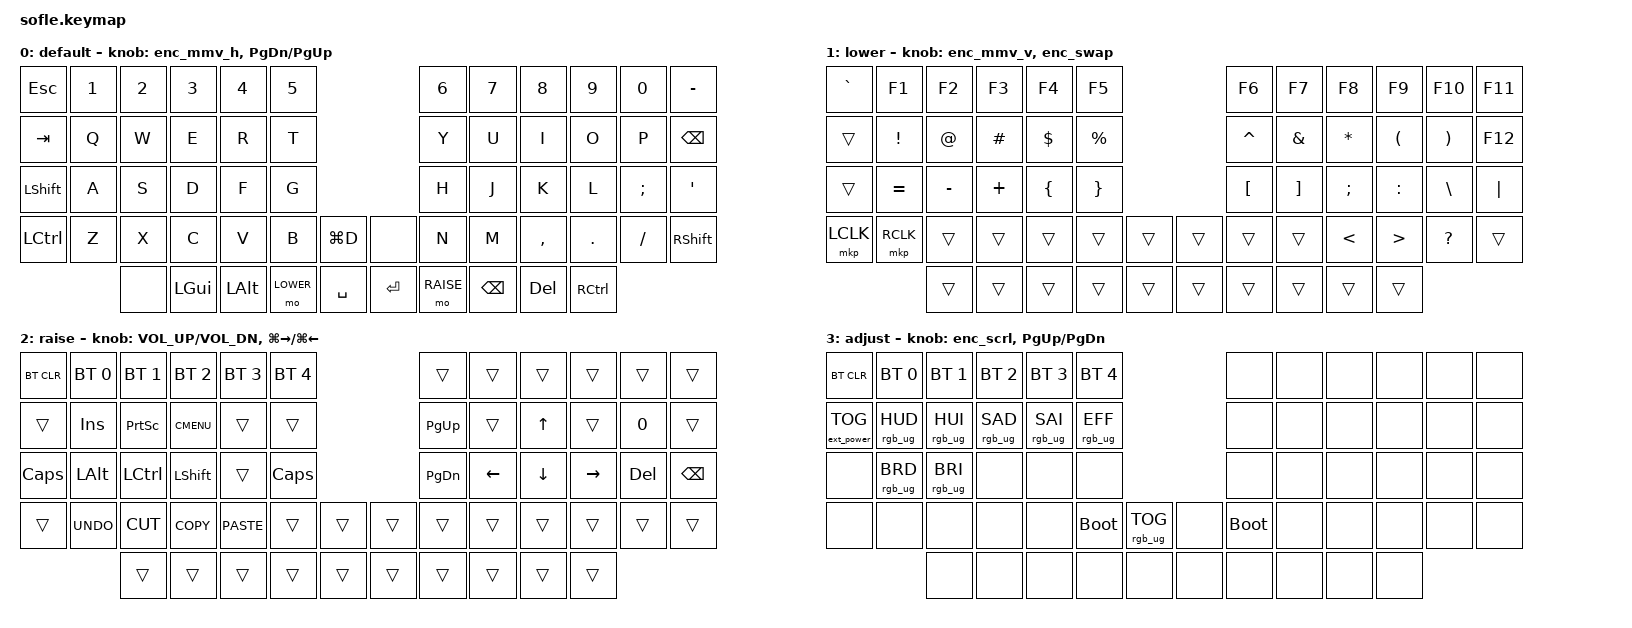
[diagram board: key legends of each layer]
/*
 * Copyright (c) 2020 The ZMK Contributors
 *
 * SPDX-License-Identifier: MIT
 */

#include <behaviors.dtsi>
#include <dt-bindings/zmk/bt.h>
#include <dt-bindings/zmk/ext_power.h>
#include <dt-bindings/zmk/keys.h>
#include <dt-bindings/zmk/rgb.h>
#include <dt-bindings/zmk/pointing.h>

#define BASE 0
#define LOWER 1
#define RAISE 2
#define ADJUST 3

// Mặc định &mmv tăng tốc dần trong 300ms. Nấc xoay encoder chỉ kéo dài vài chục
// ms nên con trỏ sẽ mãi kẹt ở đoạn đầu đường tăng tốc, nhích được ~2px. Tắt gia
// tốc để đạt tốc độ tối đa ngay từ sự kiện đầu tiên.
&mmv {
    acceleration-exponent = <0>;
    time-to-max-speed-ms = <0>;
};

&msc {
    acceleration-exponent = <0>;
    time-to-max-speed-ms = <0>;
};

/ {
    // Núm xoay trái điều khiển con trỏ chuột.
    // Sự kiện sinh ra mỗi 16ms, nên tap-ms = 32 cho ra 2 sự kiện mỗi nấc xoay.
    // Con trỏ: 1500 đơn vị/giây x 0,032s ~ 48px mỗi nấc (~960px một vòng xoay).
    // Muốn con trỏ chạy nhanh/chậm hơn thì sửa 1500, không sửa tap-ms.
    behaviors {
        enc_mmv_v: enc_mmv_v {
            compatible = "zmk,behavior-sensor-rotate";
            #sensor-binding-cells = <0>;
            bindings = <&mmv MOVE_Y(1500)>, <&mmv MOVE_Y(-1500)>;
            tap-ms = <32>;
        };

        enc_mmv_h: enc_mmv_h {
            compatible = "zmk,behavior-sensor-rotate";
            #sensor-binding-cells = <0>;
            bindings = <&mmv MOVE_X(1500)>, <&mmv MOVE_X(-1500)>;
            tap-ms = <32>;
        };

        enc_scrl: enc_scrl {
            compatible = "zmk,behavior-sensor-rotate";
            #sensor-binding-cells = <0>;
            bindings = <&msc MOVE_Y(-40)>, <&msc MOVE_Y(40)>;
            tap-ms = <32>;
        };

        // Alt+Tab thật: giữ LALT lúc xoay để overlay GNOME hiện ra. Không dùng
        // timeout — overlay treo chừng nào còn giữ LOWER. Module tri-state v0.3
        // bỏ qua mọi lần TẮT lớp, nên KHÔNG được đưa vị trí 53 (LOWER) vào
        // ignored-key-positions: phải để sự kiện NHẢ LOWER cắt tri-state, nhả
        // LALT và chốt cửa sổ. (Bản d048b77 ignore 53 → overlay treo mãi.)
        swapper: swapper {
            compatible = "zmk,behavior-tri-state";
            #binding-cells = <0>;
            bindings = <&kt LALT>, <&kp TAB>, <&kt LALT>;
            ignored-layers = <LOWER>;
        };

        // Xoay thuận: Alt+Tab tiến. Xoay ngược: Shift+Tab, cộng với LALT mà
        // swapper đang giữ thành Alt+Shift+Tab -> lùi lại trong danh sách.
        enc_swap: enc_swap {
            compatible = "zmk,behavior-sensor-rotate";
            #sensor-binding-cells = <0>;
            bindings = <&swapper>, <&kp LS(TAB)>;
            tap-ms = <32>;
        };
    };

    // Activate ADJUST layer by pressing raise and lower

    conditional_layers {
        compatible = "zmk,conditional-layers";

        adjust_layer {
            if-layers = <LOWER RAISE>;
            then-layer = <ADJUST>;
        };
    };

    keymap {
        compatible = "zmk,keymap";

        default_layer {
            label = "default";

            // ------------------------------------------------------------------------------------------------------------
            // |  ESC  |  1  |  2  |  3   |  4   |  5   |                   |  6   |  7    |  8    |  9   |   0   |   -   |
            // |  TAB  |  Q  |  W  |  E   |  R   |  T   |                   |  Y   |  U    |  I    |  O   |   P   | BKSPC |
            // | SHIFT |  A  |  S  |  D   |  F   |  G   |                   |  H   |  J    |  K    |  L   |   ;   |   '   |
            // | CTRL  |  Z  |  X  |  C   |  V   |  B   |  MUTE  |  |       |  N   |  M    |  ,    |  .   |   /   | SHIFT |
            //               | --- | GUI  | ALT  | LOWER|  SPACE |  | ENTER | RAISE| BKSPC | DEL   | CTRL |

            bindings = <
&kp ESC       &kp N1  &kp N2        &kp N3    &kp N4     &kp N5                              &kp N6     &kp N7         &kp N8      &kp N9        &kp N0    &kp MINUS
&kp TAB       &kp Q   &kp W         &kp E     &kp R      &kp T                               &kp Y      &kp U          &kp I       &kp O         &kp P     &kp BACKSPACE
&kp LSHFT     &kp A   &kp S         &kp D     &kp F      &kp G                               &kp H      &kp J          &kp K       &kp L         &kp SEMI  &kp SQT
&kp LCTRL     &kp Z   &kp X         &kp C     &kp V      &kp B      &kp LG(D)     &none      &kp N      &kp M          &kp COMMA   &kp DOT       &kp FSLH  &kp RSHFT
                      &none         &kp LEFT_GUI  &kp LALT  &mo LOWER  &kp SPACE     &kp ENTER  &mo RAISE  &kp BACKSPACE  &kp DELETE  &kp RCTRL
            >;

            // núm trái: con trỏ trái/phải  |  núm phải: PgDn/PgUp (đảo chiều 29/08)
            sensor-bindings = <&enc_mmv_h &inc_dec_kp PG_DN PG_UP>;
        };

        lower_layer {
            label = "lower";

            // ------------------------------------------------------------------------------------------------------------
            // |   `   |  F1 |  F2 |  F3  |  F4  |  F5  |                   |  F6  |  F7   |  F8   |  F9  |  F10  |  F11  |
            // |       |  !  |  @  |  #   |  $   |  %   |                   |  ^   |  &    |  *    |  (   |   )   |  F12  |
            // |       |  =  |  -  |  +   |  {   |  }   |                   |  [   |  ]    |  ;    |  :   |   \   |   |   |
            // | LCLK  |RCLK |     |      |      |      |        |  |       |      |       |   <   |  >   |   ?   |       |
            //               |     |      |      |      |        |  |       |      |       |       |      |

            bindings = <
&kp GRAVE  &kp F1     &kp F2     &kp F3       &kp F4    &kp F5                       &kp F6    &kp F7    &kp F8     &kp F9     &kp F10   &kp F11
&trans     &kp EXCL   &kp AT     &kp HASH     &kp DLLR  &kp PRCNT                    &kp CARET &kp AMPS  &kp STAR   &kp LPAR   &kp RPAR  &kp F12
&trans     &kp EQUAL  &kp MINUS  &kp PLUS     &kp LBRC  &kp RBRC                     &kp LBKT  &kp RBKT  &kp SEMI   &kp COLON  &kp BSLH  &kp PIPE
&mkp LCLK  &mkp RCLK  &trans     &trans       &trans    &trans     &trans    &trans  &trans    &trans    &kp LT     &kp GT     &kp QMARK &trans
                      &trans     &trans       &trans    &trans     &trans    &trans  &trans    &trans    &trans     &trans
            >;

            // núm trái: con trỏ lên/xuống  |  núm phải: chuyển cửa sổ (Alt+Tab)
            sensor-bindings = <&enc_mmv_v &enc_swap>;
        };

        raise_layer {
            label = "raise";

            // ------------------------------------------------------------------------------------------------------------
            // | BTCLR | BT1  | BT2  |  BT3  |  BT4  |  BT5 |                |      |      |       |      |       |       |
            // |       | INS  | PSCR | GUI   |       |      |                | PGUP |      |   ^   |      |       |       |
            // | CAPS  | ALT  | CTRL | SHIFT |       | CAPS |                | PGDN |   <- |   v   |  ->  |  DEL  | BKSPC |
            // |       | UNDO | CUT  | COPY  | PASTE |      |      |  |      |      |      |       |      |       |       |
            //                |      |       |       |      |      |  |      |      |      |       |      |

            bindings = <
&bt BT_CLR  &bt BT_SEL 0  &bt BT_SEL 1  &bt BT_SEL 2  &bt BT_SEL 3  &bt BT_SEL 4                    &trans     &trans    &trans    &trans     &trans   &trans
&trans      &kp INS       &kp PSCRN     &kp K_CMENU   &trans        &trans                          &kp PG_UP  &trans    &kp UP    &trans     &kp N0   &trans
&kp CLCK    &kp LALT      &kp LCTRL     &kp LSHFT     &trans        &kp CLCK                        &kp PG_DN  &kp LEFT  &kp DOWN  &kp RIGHT  &kp DEL  &kp BSPC
&trans      &kp K_UNDO    &kp K_CUT     &kp K_COPY    &kp K_PASTE   &trans        &trans    &trans  &trans     &trans    &trans    &trans     &trans   &trans
                          &trans        &trans        &trans        &trans        &trans    &trans  &trans     &trans    &trans    &trans
            >;

            // núm trái: Vol +/-  |  núm phải: Super+Right / Super+Left (chia-man)
            sensor-bindings = <&inc_dec_kp C_VOL_UP C_VOL_DN &inc_dec_kp LG(RIGHT) LG(LEFT)>;
        };

        adjust_layer {
            // ----------------------------------------------------------------------------------------------------------------------------
            // | BTCLR  |  BT1    |  BT2    |   BT3   |   BT4   |   BT5   |                  |      |      |       |      |       |       |
            // | EXTPWR | RGB_HUD | RGB_HUI | RGB_SAD | RGB_SAI | RGB_EFF |                  |      |      |       |      |       |       |
            // |        | RGB_BRD | RGB_BRI |         |         |         |                  |      |      |       |      |       |       |
            // |        |         |         |         |         |  BOOT   | RGB_TOG | | BOOT |      |      |       |      |       |       |
            //                    |         |         |         |         |         | |      |      |      |       |      |

            label = "adjust";
            bindings = <
&bt BT_CLR         &bt BT_SEL 0     &bt BT_SEL 1     &bt BT_SEL 2     &bt BT_SEL 3     &bt BT_SEL 4                               &none  &none  &none  &none  &none  &none
&ext_power EP_TOG  &rgb_ug RGB_HUD  &rgb_ug RGB_HUI  &rgb_ug RGB_SAD  &rgb_ug RGB_SAI  &rgb_ug RGB_EFF                            &none  &none  &none  &none  &none  &none
&none              &rgb_ug RGB_BRD  &rgb_ug RGB_BRI  &none            &none            &none                                      &none  &none  &none  &none  &none  &none
&none              &none            &none            &none            &none            &bootloader      &rgb_ug RGB_TOG    &none  &bootloader  &none  &none  &none  &none  &none
                                    &none            &none            &none            &none            &none              &none  &none  &none  &none  &none
            >;

            // núm trái: cuộn trang  |  núm phải: PgUp/PgDn
            sensor-bindings = <&enc_scrl &inc_dec_kp PG_UP PG_DN>;
        };
    };
};
